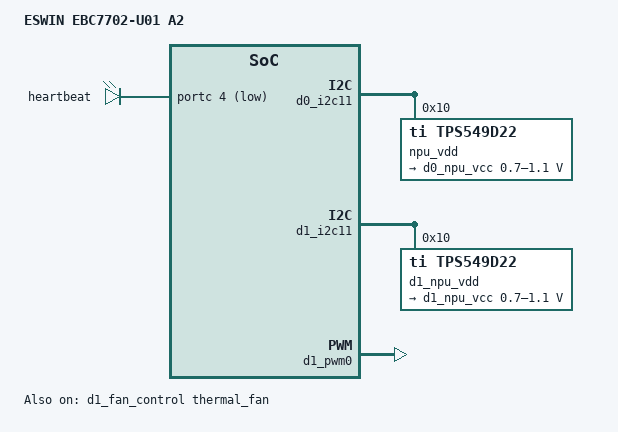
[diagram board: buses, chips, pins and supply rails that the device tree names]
// SPDX-License-Identifier: GPL-2.0
/*
 * Device Tree file for Eswin EIC7700 SoC.
 *
 * Copyright 2024, Beijing ESWIN Computing Technology Co., Ltd.. All rights reserved.
 * SPDX-License-Identifier: GPL-2.0
 *
 * This program is free software: you can redistribute it and/or modify
 * it under the terms of the GNU General Public License as published by
 * the Free Software Foundation, version 2.
 *
 * This program is distributed in the hope that it will be useful,
 * but WITHOUT ANY WARRANTY; without even the implied warranty of
 * MERCHANTABILITY or FITNESS FOR A PARTICULAR PURPOSE.  See the
 * GNU General Public License for more details.
 *
 * You should have received a copy of the GNU General Public License
 * along with this program.  If not, see <https://www.gnu.org/licenses/>.
 */

/dts-v1/;

#include "ebc7702-u01-pcie.dtsi"

/ {
	#address-cells = <2>;
	#size-cells = <2>;
	model = "ESWIN EBC7702-U01 A2";

	/* die0 gpio68 system led */
	leds {
		compatible = "gpio-leds";
		pinctrl-names = "default";
		pinctrl-0 = <&pinctrl_die0_gpio68_default>;

		gpio-68 {
			gpios = <&portc 4 GPIO_ACTIVE_LOW>;
			label = "heartbeat";
			linux,default-trigger = "heartbeat";
		};
	};
};

&d0_i2c3 {
	/* SOC2&4 serdes clk, configured by scpu&lpcpu */
	status = "disabled";
	es501x@42 {
		compatible = "einno,es501x";
		reg = <0x42>;
		status = "okay";
		eswin,regulator_default-microvolt=<875000>;
		eswin,regulator_label = "Supply VDD1", "cpu_vdd";
		label = "vdd_cpu";
		regulators {
			vdd_cpu_reg:vdd_cpu{
				regulator-name="vdd_cpu";
				regulator-min-microvolt=<875000>;
				regulator-max-microvolt=<875000>;
				regulator-init-microvolt=<875000>;
				regulator-boot-on;
				regulator-always-on;
			};
		};
	};
};

&d0_i2c4 {
	/* SOC1 ADS1115, accessed by lpcpu */
	status = "disabled";
	es501x@40 {
		compatible = "einno,es501x";
		reg = <0x40>;
		status = "okay";
		eswin,regulator_default-microvolt=<800000>;
		eswin,regulator_label = "Supply VDD1", "soc_vdd";
		label = "vdd_soc_lpddr";
		regulators {
			vdd_soc_lpddr_reg:vdd_soc_cpu{
				regulator-name="vdd_soc_lpddr";
				regulator-min-microvolt=<800000>;
				regulator-max-microvolt=<800000>;
				regulator-init-microvolt=<800000>;
				regulator-boot-on;
				regulator-always-on;
			};
		};
	};
};

&d0_i2c5 {
	status = "disabled";
	/* SOC1 eeprom, read by lpcpu */
	ina226@44 {
		compatible = "ti,ina226";
		#io-channel-cells = <1>;
		label = "power_vdd";
		reg = <0x44>;
		shunt-resistor = <1000>;
	};
	tmp102@48 {
		compatible = "ti,tmp102";
		reg = <0x48>;
		label = "board_tmp";
		#thermal-sensor-cells = <1>;
	};
};

&d0_i2c11 {
	/* d0 npu pmic */
	status = "okay";
	tps549d22@10 {
		compatible = "ti,tps549d22";
		reg = <0x10>;
		eswin,regulator_default-microvolt=<1000000>;
		eswin,regulator_label = "Supply VDD", "D0 NPU Voltage";
		label = "npu_vdd";
		regulators{
			d0_npu_vcc:npu_svcc{
				regulator-name="D0_NPU_SVCC";
				regulator-min-microvolt=<700000>;
				regulator-max-microvolt=<1100000>;
				regulator-min-microamp=<20000000>;
				regulator-max-microamp=<40000000>;
				regulator-ov-protection-microvolt=<1100000>;
			};
		};
	};
};

&d1_i2c11 {
	/* d1 npu pmic */
	status = "okay";
	tps549d22@10 {
		compatible = "ti,tps549d22";
		reg = <0x10>;
		eswin,regulator_default-microvolt=<1000000>;
		eswin,regulator_label = "Supply VDD1", "D1 NPU Voltage";
		label = "d1_npu_vdd";
		regulators{
			d1_npu_vcc:npu_svcc{
				regulator-name="D1_NPU_SVCC";
				regulator-min-microvolt=<700000>;
				regulator-max-microvolt=<1100000>;
				regulator-min-microamp=<20000000>;
				regulator-max-microamp=<40000000>;
				regulator-ov-protection-microvolt=<1100000>;
			};
		};
	};
};

&d1_pwm0 {
	status = "okay";
};

&fan_control {
	label = "auxiliary_fan";
};

&d1_fan_control {
	label = "thermal_fan";
	status = "okay";
};
